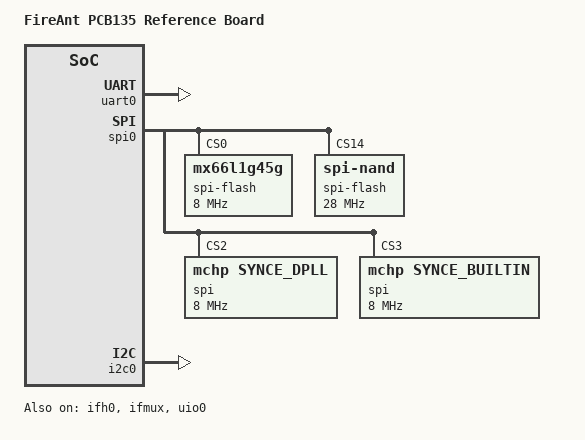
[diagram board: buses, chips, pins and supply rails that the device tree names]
// SPDX-License-Identifier: (GPL-2.0+ OR MIT)
/*
 * Copyright (c) 2018 Microsemi Corporation
 */

/dts-v1/;
#include "fireant_pcb_common.dtsi"

/ {
	model = "FireAnt PCB135 Reference Board";
	compatible = "mscc,fireant-pcb135", "mscc,fireant";

	memory@0 {
		device_type = "memory";
		reg = <0x00000000 0x00000000 0x10000000>;
	};
};

&uart0 {
        status = "okay";
};

&gpio {
	cs14_pins: cs14-pins {
		pins = "GPIO_44";
		function = "si";
	};
	synce_pins: synce-pins {
		// CS2
		pins = "GPIO_17";
		function = "si";
	};
	synce_builtin_pins: synce-builtin-pins {
		// CS3
		pins = "GPIO_18";
		function = "si";
	};
};

&spi0 {
	status = "okay";
	pinctrl-0 = <&si2_pins>;
	pinctrl-names = "default";
	interface-mapping-mask = <0x4000>;	// NAND CS14 = SPI2
	spi-flash@0 {
		compatible = "mx66l1g45g", "jedec,spi-nor";
		spi-max-frequency = <8000000>;
		reg = <0>;
	};
	// Dedicated SPI2 interface
        spi-flash@e {
		compatible = "spi-nand";
		pinctrl-0 = <&cs14_pins>;
		pinctrl-names = "default";
		spi-max-frequency = <28000000>;
		reg = <14>;
	};
	// synce module
	spi@2 {
		compatible = "mchp,synce_dpll";
		reg = <2>;
		pinctrl-0 = <&synce_pins>;
		pinctrl-names = "default";
		spi-max-frequency = <8000000>;
	};
	// redwood onboard ptp dpll
	spi@3 {
		compatible = "mchp,synce_builtin";
		reg = <3>;
		pinctrl-0 = <&synce_builtin_pins>;
		pinctrl-names = "default";
		spi-max-frequency = <8000000>;
	};
};

&i2c0 {
	status = "okay";
};

&ifh0 {
	status = "okay";
};

&ifmux {
	status = "okay";
};

&uio0 {
	status = "okay";
};
